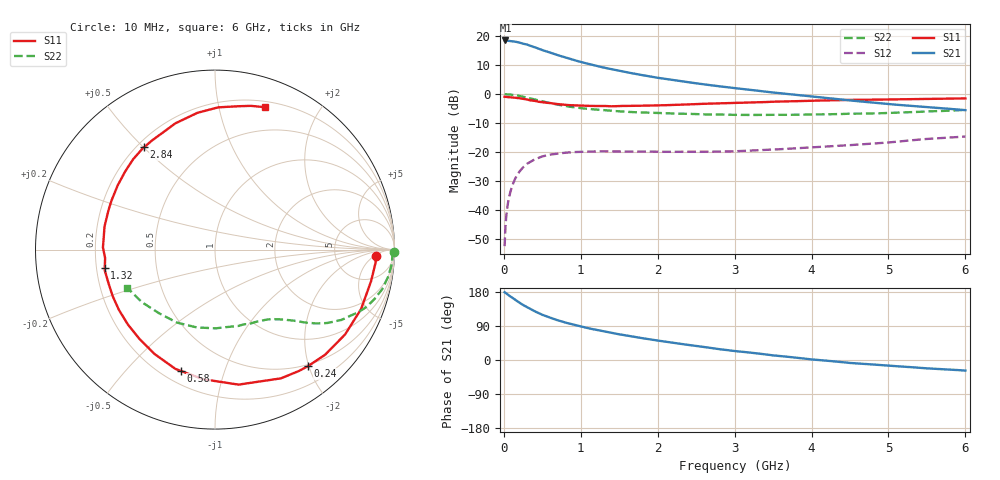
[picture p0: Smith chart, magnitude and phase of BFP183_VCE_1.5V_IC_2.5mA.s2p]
! Infineon Technologies  Discrete & RF Semiconductors
! BFP183
! VCE = 1.5 V,  IC =  2.5 mA
! Common Emitter S-Parameters:  Jan 2016
# GHz  S  MA  R  50
!  f  S11  S21  S12  S22
! GHz  MAG  ANG  MAG  ANG  MAG  ANG  MAG  ANG
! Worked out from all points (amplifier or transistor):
!   210 points, 10 MHz to 6 GHz, reference 50 ohm
!   highest |S21| = 18.5 dB at 20 MHz (marker M1)
!   |S21| within 3 dB of that: start of sweep to 467.9 MHz
!   unconditionally stable (mu >= 1): 1.925 GHz to end of sweep
!   at 185 MHz: K = 0.11, MSG = 22.6 dB, |S12| = -27.4 dB
!   at 1.52 GHz: K = 0.80, MSG = 13.9 dB, |S12| = -19.8 dB
!   at 6 GHz: K = 1.01, MAG = 4.1 dB, |S12| = -14.6 dB
!   S11 on the Smith chart (normalised r, x): 10 MHz: 16, -6; 240 MHz: 0.48, -1.99; 580 MHz: 0.27, -0.72; 1.32 GHz: 0.23, -0.08; 2.84 GHz: 0.23, +0.50; 6 GHz: 0.25, +1.38
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0.01  0.8984 -2.3  8.264 178.8  0.0024 89.1  0.9972 -0.9
0.02  0.8975 -4.7  8.367 177.6  0.0049 87.5  0.9883 -1.8
0.04  0.8893 -9.2  8.31 174.3  0.01 86.6  0.9888 -3.6
0.06  0.8831 -13.5  8.237 171.3  0.0148 83.6  0.9862 -5.4
0.15  0.8654 -33.1  7.973 158.3  0.0355 71.7  0.9577 -13.3
0.2  0.8484 -43.6  7.707 151.5  0.0456 66.3  0.931 -17.1
0.24  0.8309 -51.3  7.428 146.4  0.0528 61.9  0.9075 -20.0
0.3  0.8059 -62.9  7.121 139.6  0.0628 56.3  0.8687 -23.8
0.4  0.7636 -80.1  6.413 128.4  0.0747 48.0  0.8044 -29.2
0.5  0.7254 -95.1  5.716 119.3  0.0843 41.3  0.7484 -33.1
0.58  0.7023 -105.6  5.298 113.3  0.0893 37.1  0.7079 -35.5
0.7  0.6722 -120.0  4.673 104.8  0.0944 31.6  0.6549 -38.5
0.8  0.6515 -130.3  4.28 98.7  0.0976 28.1  0.6214 -40.3
1.02  0.6299 -149.4  3.507 87.5  0.1014 22.0  0.5686 -43.8
1.32  0.6224 -170.6  2.816 74.9  0.1033 16.9  0.5239 -47.9
1.6  0.6237 173.3  2.374 64.4  0.1026 14.5  0.4955 -51.5
2.02  0.6387 153.8  1.888 50.7  0.1015 13.4  0.4703 -57.9
2.84  0.6936 124.7  1.339 27.7  0.1025 16.0  0.4433 -73.9
3.1  0.7059 117.5  1.223 21.7  0.1047 17.7  0.4368 -80.0
4.1  0.7719 95.5  0.881 -0.1  0.1228 21.8  0.4458 -106.1
5.1  0.8094 80.7  0.655 -16.3  0.1509 22.7  0.4759 -133.9
6  0.8413 70.5  0.528 -27.9  0.1853 17.4  0.5332 -156.6
